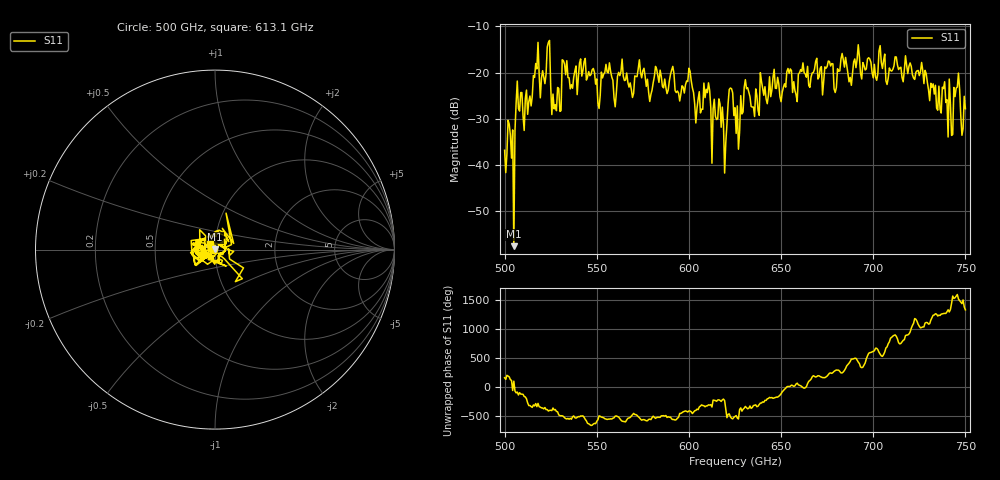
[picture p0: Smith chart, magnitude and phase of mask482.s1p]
!Created with skrf (http://scikit-rf.org).
# GHz S MA R 50.0
!freq magS11 angS11
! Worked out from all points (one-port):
!   401 points, 500 GHz to 750 GHz, reference 50 ohm
!   lowest |S11| = -57.6 dB at 505 GHz (marker M1), VSWR 1.00, Z = 50 + j0.131 ohm
!   |S11| at or under -10 dB: start of sweep to end of sweep
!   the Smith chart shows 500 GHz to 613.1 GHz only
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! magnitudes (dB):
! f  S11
! 500 GHz  -36.8
! 503.1 GHz  -33.5
! 505 GHz  -57.6
! 507.5 GHz  -27.8
! 513.8 GHz  -25.1
! 516.9 GHz  -18.0
! 520.6 GHz  -19.6
! 523.8 GHz  -13.5
! 526.9 GHz  -27.9
! 531.2 GHz  -17.2
! 542.5 GHz  -19.5
! 550.6 GHz  -26.7
! 562.5 GHz  -20.7
! 593.8 GHz  -24.0
! 609.4 GHz  -23.6
! 618.8 GHz  -31.2
! 622.5 GHz  -23.4
! 625 GHz  -27.6
! 656.2 GHz  -24.3
! 680 GHz  -23.3
! 683.8 GHz  -17.2
! 687.5 GHz  -21.1
! 691.2 GHz  -17.1
! 718.8 GHz  -20.2
! 738.8 GHz  -22.0
! 741.9 GHz  -26.8
! 745 GHz  -23.4
! 750 GHz  -27.8
